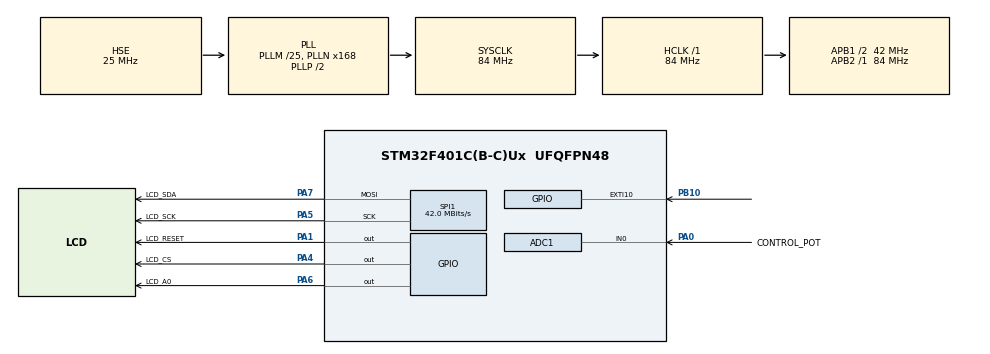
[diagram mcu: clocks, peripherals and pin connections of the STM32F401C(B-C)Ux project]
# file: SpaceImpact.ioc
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ADC1.Channel-0\#ChannelRegularConversion=ADC_CHANNEL_0
ADC1.NbrOfConversionFlag=1
ADC1.Rank-0\#ChannelRegularConversion=1
ADC1.SamplingTime-0\#ChannelRegularConversion=ADC_SAMPLETIME_3CYCLES
ADC1.master=1
FREERTOS.Mutexes01=MTX1,Dynamic,NULL
FREERTOS.Tasks01=Draw,24,128,StartDraw,Default,NULL,Dynamic,NULL,NULL;Control,24,128,StartControl,Default,NULL,Dynamic,NULL,NULL
FREERTOS.configUSE_NEWLIB_REENTRANT=1
Mcu.Family=STM32F4
Mcu.Name=STM32F401C(B-C)Ux
Mcu.Package=UFQFPN48
NVIC.EXTI15_10_IRQn=true\:5\:0\:false\:false\:true\:false\:true\:true\:true
NVIC.PriorityGroup=NVIC_PRIORITYGROUP_4
NVIC.TIM1_BRK_TIM9_IRQn=true\:5\:0\:false\:false\:true\:true\:true\:true\:true
PA0-WKUP.GPIO_Label=CONTROL_POT
PA0-WKUP.Signal=ADCx_IN0
PA1.GPIO_Label=LCD_RESET
PA1.Signal=GPIO_Output
PA13.Mode=Serial_Wire
PA13.Signal=SYS_JTMS-SWDIO
PA14.Mode=Serial_Wire
PA14.Signal=SYS_JTCK-SWCLK
PA4.GPIO_Label=LCD_CS
PA4.PinState=GPIO_PIN_SET
PA4.Signal=GPIO_Output
PA5.GPIO_Label=LCD_SCK
PA5.Mode=TX_Only_Simplex_Unidirect_Master
PA5.Signal=SPI1_SCK
PA6.GPIO_Label=LCD_A0
PA6.PinState=GPIO_PIN_SET
PA6.Signal=GPIO_Output
PA7.GPIO_Label=LCD_SDA
PA7.Mode=TX_Only_Simplex_Unidirect_Master
PA7.Signal=SPI1_MOSI
PB10.Signal=GPXTI10
PH0\ -\ OSC_IN.Mode=HSE-External-Oscillator
PH0\ -\ OSC_IN.Signal=RCC_OSC_IN
PH1\ -\ OSC_OUT.Mode=HSE-External-Oscillator
PH1\ -\ OSC_OUT.Signal=RCC_OSC_OUT
ProjectManager.HeapSize=0x200
ProjectManager.StackSize=0x400
ProjectManager.TargetToolchain=STM32CubeIDE
RCC.48MHZClocksFreq_Value=42000000
RCC.AHBFreq_Value=84000000
RCC.APB1CLKDivider=RCC_HCLK_DIV2
RCC.APB1Freq_Value=42000000
RCC.APB1TimFreq_Value=84000000
RCC.APB2Freq_Value=84000000
RCC.APB2TimFreq_Value=84000000
RCC.CortexFreq_Value=84000000
RCC.HCLKFreq_Value=84000000
RCC.HSE_VALUE=25000000
RCC.HSI_VALUE=16000000
RCC.LSE_VALUE=32768
RCC.PLLM=25
RCC.PLLN=168
RCC.PLLSourceVirtual=RCC_PLLSOURCE_HSE
RCC.SYSCLKFreq_VALUE=84000000
RCC.SYSCLKSource=RCC_SYSCLKSOURCE_PLLCLK
RCC.VCOOutputFreq_Value=168000000
SH.ADCx_IN0.0=ADC1_IN0,IN0
SPI1.BaudRatePrescaler=SPI_BAUDRATEPRESCALER_2
SPI1.CalculateBaudRate=42.0 MBits/s
SPI1.Direction=SPI_DIRECTION_2LINES
SPI1.Mode=SPI_MODE_MASTER
SPI1.VirtualType=VM_MASTER
TIM9.AutoReloadPreload=TIM_AUTORELOAD_PRELOAD_ENABLE
TIM9.Period=6000
TIM9.Prescaler=42000
VP_FREERTOS_VS_CMSIS_V2.Mode=CMSIS_V2
VP_TIM9_VS_ClockSourceINT.Mode=Internal
board=custom

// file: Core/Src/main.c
/* USER CODE BEGIN Header */
/**
  ******************************************************************************
  * @file           : main.c
  * @brief          : Main program body
  ******************************************************************************
  * @attention
  *
  * Copyright (c) 2022 STMicroelectronics.
  * All rights reserved.
  *
  * This software is licensed under terms that can be found in the LICENSE file
  * in the root directory of this software component.
  * If no LICENSE file comes with this software, it is provided AS-IS.
  *
  ******************************************************************************
  */
/* USER CODE END Header */
#include "main.h"
#include "cmsis_os.h"

/* USER CODE BEGIN Includes */
#include <stdlib.h>
#include "lcd.h"
#include "font.h"
/* USER CODE END Includes */

/* USER CODE BEGIN PD */
#define BULLETS_MAX_NUM 30
#define MOBS_MAX_NUM 3
#define TERMINAL_XLINE 112
/* USER CODE END PD */

/* USER CODE BEGIN PM */
#define POSITION(_adc) (((_adc % 4096) * 140) / 4095)
#define FPS_TO_TICKS(_fps) (1000 / _fps)
/* USER CODE END PM */

ADC_HandleTypeDef hadc1;

SPI_HandleTypeDef hspi1;

TIM_HandleTypeDef htim9;

/* Definitions for Draw */
osThreadId_t DrawHandle;
const osThreadAttr_t Draw_attributes = {
  .name = "Draw",
  .stack_size = 128 * 4,
  .priority = (osPriority_t) osPriorityNormal,
};
/* Definitions for Control */
osThreadId_t ControlHandle;
const osThreadAttr_t Control_attributes = {
  .name = "Control",
  .stack_size = 128 * 4,
  .priority = (osPriority_t) osPriorityNormal,
};
/* Definitions for MTX1 */
osMutexId_t MTX1Handle;
const osMutexAttr_t MTX1_attributes = {
  .name = "MTX1"
};
/* USER CODE BEGIN PV */

typedef struct {
    uint8_t x;
    uint8_t y;
    struct queue *nextElem;
    struct queue *prevElem;
} queue;

typedef struct {
	queue *startPtr;
	queue *endPtr;
	int8_t cntrElem;
	int8_t maxItemNum;
} item_t;
item_t bullets;
item_t mobs;

uint32_t adc_value;
uint16_t adc_prev_value;

uint8_t flag = 0;
/* USER CODE END PV */

void SystemClock_Config(void);
static void MX_GPIO_Init(void);
static void MX_ADC1_Init(void);
static void MX_SPI1_Init(void);
static void MX_TIM9_Init(void);
void StartDraw(void *argument);
void StartControl(void *argument);

/* USER CODE BEGIN PFP */
uint8_t addQueueFrame();
void delQueueFrame();
void protagonistDraw();
void bulletDraw();
void mobDraw();
void collisionFinder();
void HAL_GPIO_EXTI_Callback(uint16_t GPIO_Pin);
void HAL_TIM_PeriodElapsedCallback(TIM_HandleTypeDef* htim);
/* USER CODE END PFP */

int main(void)
{

  /* MCU Configuration--------------------------------------------------------*/

  /* Reset of all peripherals, Initializes the Flash interface and the Systick. */
  HAL_Init();

  /* Configure the system clock */
  SystemClock_Config();

  /* Initialize all configured peripherals */
  MX_GPIO_Init();
  MX_ADC1_Init();
  MX_SPI1_Init();
  MX_TIM9_Init();
  /* USER CODE BEGIN 2 */
  HAL_ADC_Start_IT(&hadc1);
  HAL_ADC_PollForConversion(&hadc1, HAL_MAX_DELAY);
  srand(HAL_ADC_GetValue(&hadc1));						// Getting seed for RNG from ADC

  bullets.startPtr = NULL;
  bullets.endPtr = NULL;
  bullets.cntrElem = 0;
  bullets.maxItemNum = BULLETS_MAX_NUM;

  mobs.startPtr = NULL;
  mobs.endPtr = NULL;
  mobs.cntrElem = 0;
  mobs.maxItemNum = MOBS_MAX_NUM;

  HAL_TIM_Base_Start_IT(&htim9);
  /* USER CODE END 2 */

  /* Init scheduler */
  osKernelInitialize();
  /* Create the mutex(es) */
  /* creation of MTX1 */
  MTX1Handle = osMutexNew(&MTX1_attributes);

  /* Create the thread(s) */
  /* creation of Draw */
  DrawHandle = osThreadNew(StartDraw, NULL, &Draw_attributes);

  /* creation of Control */
  ControlHandle = osThreadNew(StartControl, NULL, &Control_attributes);

  /* Start scheduler */
  osKernelStart();

  /* We should never get here as control is now taken by the scheduler */
  /* Infinite loop */
  while (1)
  {

  }
}

void SystemClock_Config(void)
{
  RCC_OscInitTypeDef RCC_OscInitStruct = {0};
  RCC_ClkInitTypeDef RCC_ClkInitStruct = {0};

  /** Configure the main internal regulator output voltage
  */
  __HAL_RCC_PWR_CLK_ENABLE();
  __HAL_PWR_VOLTAGESCALING_CONFIG(PWR_REGULATOR_VOLTAGE_SCALE2);

  /** Initializes the RCC Oscillators according to the specified parameters
  * in the RCC_OscInitTypeDef structure.
  */
  RCC_OscInitStruct.OscillatorType = RCC_OSCILLATORTYPE_HSE;
  RCC_OscInitStruct.HSEState = RCC_HSE_ON;
  RCC_OscInitStruct.PLL.PLLState = RCC_PLL_ON;
  RCC_OscInitStruct.PLL.PLLSource = RCC_PLLSOURCE_HSE;
  RCC_OscInitStruct.PLL.PLLM = 25;
  RCC_OscInitStruct.PLL.PLLN = 168;
  RCC_OscInitStruct.PLL.PLLP = RCC_PLLP_DIV2;
  RCC_OscInitStruct.PLL.PLLQ = 4;
  if (HAL_RCC_OscConfig(&RCC_OscInitStruct) != HAL_OK)
  {
    Error_Handler();
  }

  /** Initializes the CPU, AHB and APB buses clocks
  */
  RCC_ClkInitStruct.ClockType = RCC_CLOCKTYPE_HCLK|RCC_CLOCKTYPE_SYSCLK
                              |RCC_CLOCKTYPE_PCLK1|RCC_CLOCKTYPE_PCLK2;
  RCC_ClkInitStruct.SYSCLKSource = RCC_SYSCLKSOURCE_PLLCLK;
  RCC_ClkInitStruct.AHBCLKDivider = RCC_SYSCLK_DIV1;
  RCC_ClkInitStruct.APB1CLKDivider = RCC_HCLK_DIV2;
  RCC_ClkInitStruct.APB2CLKDivider = RCC_HCLK_DIV1;

  if (HAL_RCC_ClockConfig(&RCC_ClkInitStruct, FLASH_LATENCY_2) != HAL_OK)
  {
    Error_Handler();
  }
}

static void MX_ADC1_Init(void)
{

  ADC_ChannelConfTypeDef sConfig = {0};

  /** Configure the global features of the ADC (Clock, Resolution, Data Alignment and number of conversion)
  */
  hadc1.Instance = ADC1;
  hadc1.Init.ClockPrescaler = ADC_CLOCK_SYNC_PCLK_DIV4;
  hadc1.Init.Resolution = ADC_RESOLUTION_12B;
  hadc1.Init.ScanConvMode = DISABLE;
  hadc1.Init.ContinuousConvMode = DISABLE;
  hadc1.Init.DiscontinuousConvMode = DISABLE;
  hadc1.Init.ExternalTrigConvEdge = ADC_EXTERNALTRIGCONVEDGE_NONE;
  hadc1.Init.ExternalTrigConv = ADC_SOFTWARE_START;
  hadc1.Init.DataAlign = ADC_DATAALIGN_RIGHT;
  hadc1.Init.NbrOfConversion = 1;
  hadc1.Init.DMAContinuousRequests = DISABLE;
  hadc1.Init.EOCSelection = ADC_EOC_SINGLE_CONV;
  if (HAL_ADC_Init(&hadc1) != HAL_OK)
  {
    Error_Handler();
  }

  /** Configure for the selected ADC regular channel its corresponding rank in the sequencer and its sample time.
  */
  sConfig.Channel = ADC_CHANNEL_0;
  sConfig.Rank = 1;
  sConfig.SamplingTime = ADC_SAMPLETIME_3CYCLES;
  if (HAL_ADC_ConfigChannel(&hadc1, &sConfig) != HAL_OK)
  {
    Error_Handler();
  }

}

static void MX_SPI1_Init(void)
{

  /* SPI1 parameter configuration*/
  hspi1.Instance = SPI1;
  hspi1.Init.Mode = SPI_MODE_MASTER;
  hspi1.Init.Direction = SPI_DIRECTION_2LINES;
  hspi1.Init.DataSize = SPI_DATASIZE_8BIT;
  hspi1.Init.CLKPolarity = SPI_POLARITY_LOW;
  hspi1.Init.CLKPhase = SPI_PHASE_1EDGE;
  hspi1.Init.NSS = SPI_NSS_SOFT;
  hspi1.Init.BaudRatePrescaler = SPI_BAUDRATEPRESCALER_2;
  hspi1.Init.FirstBit = SPI_FIRSTBIT_MSB;
  hspi1.Init.TIMode = SPI_TIMODE_DISABLE;
  hspi1.Init.CRCCalculation = SPI_CRCCALCULATION_DISABLE;
  hspi1.Init.CRCPolynomial = 10;
  if (HAL_SPI_Init(&hspi1) != HAL_OK)
  {
    Error_Handler();
  }

}

static void MX_TIM9_Init(void)
{

  TIM_ClockConfigTypeDef sClockSourceConfig = {0};

  htim9.Instance = TIM9;
  htim9.Init.Prescaler = 42000;
  htim9.Init.CounterMode = TIM_COUNTERMODE_UP;
  htim9.Init.Period = 6000;
  htim9.Init.ClockDivision = TIM_CLOCKDIVISION_DIV1;
  htim9.Init.AutoReloadPreload = TIM_AUTORELOAD_PRELOAD_ENABLE;
  if (HAL_TIM_Base_Init(&htim9) != HAL_OK)
  {
    Error_Handler();
  }
  sClockSourceConfig.ClockSource = TIM_CLOCKSOURCE_INTERNAL;
  if (HAL_TIM_ConfigClockSource(&htim9, &sClockSourceConfig) != HAL_OK)
  {
    Error_Handler();
  }

}

static void MX_GPIO_Init(void)
{
  GPIO_InitTypeDef GPIO_InitStruct = {0};

  /* GPIO Ports Clock Enable */
  __HAL_RCC_GPIOH_CLK_ENABLE();
  __HAL_RCC_GPIOA_CLK_ENABLE();
  __HAL_RCC_GPIOB_CLK_ENABLE();

  /*Configure GPIO pin Output Level */
  HAL_GPIO_WritePin(LCD_RESET_GPIO_Port, LCD_RESET_Pin, GPIO_PIN_RESET);

  /*Configure GPIO pin Output Level */
  HAL_GPIO_WritePin(GPIOA, LCD_CS_Pin|LCD_A0_Pin, GPIO_PIN_SET);

  /*Configure GPIO pins : LCD_RESET_Pin LCD_CS_Pin LCD_A0_Pin */
  GPIO_InitStruct.Pin = LCD_RESET_Pin|LCD_CS_Pin|LCD_A0_Pin;
  GPIO_InitStruct.Mode = GPIO_MODE_OUTPUT_PP;
  GPIO_InitStruct.Pull = GPIO_NOPULL;
  GPIO_InitStruct.Speed = GPIO_SPEED_FREQ_LOW;
  HAL_GPIO_Init(GPIOA, &GPIO_InitStruct);

  /*Configure GPIO pin : PB10 */
  GPIO_InitStruct.Pin = GPIO_PIN_10;
  GPIO_InitStruct.Mode = GPIO_MODE_IT_RISING;
  GPIO_InitStruct.Pull = GPIO_NOPULL;
  HAL_GPIO_Init(GPIOB, &GPIO_InitStruct);

  /* EXTI interrupt init*/
  HAL_NVIC_SetPriority(EXTI15_10_IRQn, 5, 0);
  HAL_NVIC_EnableIRQ(EXTI15_10_IRQn);

}

/* USER CODE BEGIN 4 */
/*
 * rand() function doesnt work right
 *
 * */
uint8_t addQueueFrame(item_t *Item)
{
    if (Item->cntrElem < Item->maxItemNum)
    {
        queue *nextBuf = (queue *)malloc(sizeof(queue));
        queue *prevBuf = Item->endPtr;
        if(nextBuf) {
          Item->endPtr = (Item->endPtr == NULL)  ?  (Item->startPtr = nextBuf)  :  (queue *)(Item->endPtr->nextElem = (struct queue *)nextBuf);
          Item->endPtr->nextElem = NULL;
          Item->endPtr->prevElem = (struct queue *)prevBuf;
          Item->cntrElem++;
          return 0;
        }
    }
    return 1;
}

void delQueueFrame(item_t *Item, queue *frame)
{
    if (Item->cntrElem > 0 && frame != NULL)
    {
        if (Item->startPtr == frame && Item->endPtr == frame) {     // 1 - element queue
            Item->startPtr = NULL;
            Item->endPtr = NULL;
        } else if (Item->startPtr == frame) {                       // frame == start
            Item->startPtr = (queue*)frame->nextElem;
            Item->startPtr->prevElem = NULL;
        } else if (Item->endPtr == frame) {                         // frame == end
            Item->endPtr = (queue*)frame->prevElem;
            Item->endPtr->nextElem = NULL;
        } else {                                                    // frame is between start and end
            ((queue*)frame->prevElem)->nextElem = frame->nextElem;
            ((queue*)frame->nextElem)->prevElem = frame->prevElem;
        }

        free(frame);
        --(Item->cntrElem);
    }
}

void protagonistDraw()
{
	if(POSITION(adc_value) != POSITION(adc_prev_value)) {					// motionless protagonist figure flicker reduction
			osMutexAcquire(MTX1Handle, osWaitForever);
			lcd_fill_rect( 3, POSITION(adc_prev_value), 14, 20, ST7735_BLACK);
			lcd_fill_rect( 3, POSITION(adc_value),       5, 20, ST7735_CYAN);
			lcd_fill_rect( 8, POSITION(adc_value) + 5,   3, 10, ST7735_CYAN);
			lcd_fill_rect(11, POSITION(adc_value) + 8,   3,  4, ST7735_CYAN);
			adc_prev_value = adc_value;
			osMutexRelease(MTX1Handle);
	}
}

void bulletDraw()
{
	for(queue *buffer = bullets.startPtr; buffer != NULL; buffer = (queue*)(buffer->nextElem)) {
		if((buffer->x + 5) < 127) {
			lcd_fill_rect(buffer->x++, buffer->y, 5, 2, ST7735_BLACK);
			lcd_fill_rect(buffer->x,   buffer->y, 5, 2, ST7735_GREEN);
		} else {
			lcd_fill_rect(buffer->x, buffer->y, 5, 2, ST7735_BLACK);
			delQueueFrame(&bullets, buffer);
		}
	}
}

void mobDraw()
{
	for(queue *buffer = mobs.startPtr; buffer != NULL; buffer = (queue*)(buffer->nextElem)) {
			lcd_line(buffer->x - 5, buffer->y - 5, buffer->x + 5, buffer->y + 5, ST7735_RED);
			lcd_line(buffer->x + 5, buffer->y - 5, buffer->x - 5, buffer->y + 5, ST7735_RED);
			lcd_fill_circle(buffer->x, buffer->y, 5, ST7735_RED);
	}
}

void collisionFinder()
{
	for(queue *bulletBuffer = bullets.startPtr; bulletBuffer != NULL && bulletBuffer->x > TERMINAL_XLINE && bulletBuffer->x < TERMINAL_XLINE + 10; bulletBuffer = (queue*)(bulletBuffer->nextElem))
		for (queue *mobBuffer = mobs.startPtr; mobBuffer != NULL; mobBuffer = (queue*)(mobBuffer->nextElem))
			if ((bulletBuffer->y < mobBuffer->y + 5 && bulletBuffer->y > mobBuffer->y - 5) || (bulletBuffer->y + 2 > mobBuffer->y - 5 && bulletBuffer->y + 2 < mobBuffer->y + 5)) {
				lcd_fill_rect(bulletBuffer->x, bulletBuffer->y, 5, 2, ST7735_BLACK);
				delQueueFrame(&bullets, bulletBuffer);
				lcd_fill_rect(mobBuffer->x - 5, mobBuffer->y - 5, 10, 10, ST7735_BLACK);
				delQueueFrame(&mobs, mobBuffer);
			}
}

void HAL_GPIO_EXTI_Callback(uint16_t GPIO_Pin)
{
	if(!addQueueFrame(&bullets)) {
		bullets.endPtr->x = 14;
		bullets.endPtr->y = POSITION(adc_prev_value) + 9;		// !
	}
}

void HAL_TIM_PeriodElapsedCallback(TIM_HandleTypeDef* htim)
{
	if(htim != &htim9)
			return;

	if(!addQueueFrame(&mobs)) {
		mobs.endPtr->x = 117;				// x,y - mob`s center coordinates
		mobs.endPtr->y = POSITION(rand());

		uint8_t cntr = 0;

		for(queue *buffer = mobs.startPtr; buffer->nextElem != NULL; buffer = (queue*)(buffer->nextElem))
			if((mobs.endPtr->y - 5 <= buffer->y + 6 && mobs.endPtr->y - 5 >= buffer->y - 6) || (mobs.endPtr->y + 5 <= buffer->y + 6 && mobs.endPtr->y + 5 <= buffer->y - 6)){
				mobs.endPtr->y = POSITION(rand());
				buffer = mobs.startPtr;
				lcd_char(50, 0, (char)((cntr %= 10) + 48), ST7735_WHITE, ST7735_BLACK, 1, 1);
				cntr++;
			}

	}
	__HAL_TIM_SET_AUTORELOAD(&htim9, rand() % 8000 + 2000);
	__HAL_TIM_SET_COUNTER(&htim9, 0);
}
/* USER CODE END 4 */

void StartDraw(void *argument)
{
  /* USER CODE BEGIN 5 */
	if(lcd_init())
	  while(1){}
	lcd_fill(ST7735_BLACK);
	adc_value = 2048;
	adc_prev_value = adc_value + 1024;		// adc_prev_value != adc_prev_value at first
  /* Infinite loop */
  for(;;)
  {
	protagonistDraw();
	bulletDraw();
	collisionFinder();
	mobDraw();

    osDelay(FPS_TO_TICKS(60));
  }
  /* USER CODE END 5 */
}

void StartControl(void *argument)
{
  /* USER CODE BEGIN StartControl */
  /* Infinite loop */
  for(;;)
  {
	HAL_ADC_Start_IT(&hadc1);
	HAL_ADC_PollForConversion(&hadc1, HAL_MAX_DELAY);

	osMutexAcquire(MTX1Handle, osWaitForever);
	adc_value = HAL_ADC_GetValue(&hadc1);
	osMutexRelease(MTX1Handle);

    osDelay(FPS_TO_TICKS(60));
  }
  /* USER CODE END StartControl */
}

void Error_Handler(void)
{
  __disable_irq();
  while (1)
  {
  }
}
